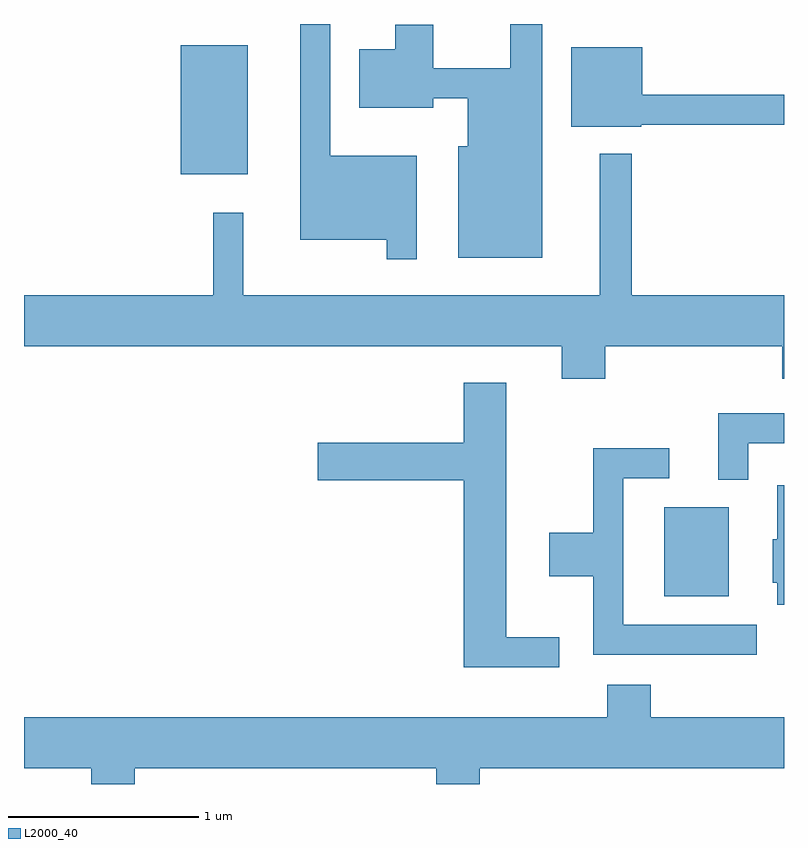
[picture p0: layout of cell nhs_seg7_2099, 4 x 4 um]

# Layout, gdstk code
import gdstk
lib = gdstk.Library(unit=1e-6, precision=1e-09)
def R(c, l, rs):  # rectangles x0, y0, x1, y1
    for r in rs: c.add(gdstk.rectangle(r[:2], r[2:], *l))
def P(c, l, *ps):  # polygons
    for p in ps: c.add(gdstk.Polygon(p, *l))
L2000_40 = (2000, 40)

nhs_seg7_2099 = lib.new_cell('nhs_seg7_2099')
R(nhs_seg7_2099, L2000_40, [(252.981,1695.241,253.319,1695.709), (250.436,1697.461,250.789,1698.139)])
P(nhs_seg7_2099, L2000_40, [(251.679,1697.559),(251.224,1697.559),(251.224,1698.252),(251.066,1698.252),(251.066,1697.116),(251.521,1697.116),(251.521,1697.013),(251.679,1697.013)],
  [(252.339,1698.252),(252.171,1698.252),(252.171,1698.019),(251.764,1698.019),(251.764,1698.249),(251.566,1698.249),(251.566,1698.119),(251.376,1698.119),(251.376,1697.811),(251.764,1697.811),(251.764,1697.861),(251.946,1697.861),(251.946,1697.609),(251.896,1697.609),(251.896,1697.021),(252.339,1697.021)],
  [(252.86,1697.721),(253.611,1697.721),(253.611,1697.879),(252.864,1697.879),(252.864,1698.129),(252.491,1698.129),(252.491,1697.711),(252.86,1697.711)],
  [(252.669,1696.556),(253.601,1696.556),(253.601,1696.386),(253.611,1696.386),(253.611,1696.824),(252.809,1696.824),(252.809,1697.568),(252.641,1697.568),(252.641,1696.824),(250.764,1696.824),(250.764,1697.258),(250.606,1697.258),(250.606,1696.824),(249.611,1696.824),(249.611,1696.556),(252.441,1696.556),(252.441,1696.386),(252.669,1696.386)],
  [(252.428,1695.024),(252.149,1695.024),(252.149,1696.364),(251.926,1696.364),(251.926,1696.049),(251.156,1696.049),(251.156,1695.851),(251.926,1695.851),(251.926,1694.866),(252.428,1694.866)],
  [(253.424,1696.046),(253.611,1696.046),(253.611,1696.204),(253.266,1696.204),(253.266,1695.853),(253.424,1695.853)],
  [(253.468,1695.089),(252.764,1695.089),(252.764,1695.861),(253.008,1695.861),(253.008,1696.019),(252.606,1696.019),(252.606,1695.574),(252.376,1695.574),(252.376,1695.346),(252.606,1695.346),(252.606,1694.931),(253.468,1694.931)],
  [(253.611,1695.824),(253.576,1695.824),(253.576,1695.539),(253.551,1695.539),(253.551,1695.311),(253.576,1695.311),(253.576,1695.196),(253.611,1695.196)],
  [(249.611,1694.336),(249.966,1694.336),(249.966,1694.252),(250.194,1694.252),(250.194,1694.336),(251.781,1694.336),(251.781,1694.252),(252.009,1694.252),(252.009,1694.336),(253.611,1694.336),(253.611,1694.604),(252.909,1694.604),(252.909,1694.774),(252.681,1694.774),(252.681,1694.604),(249.611,1694.604)])

lib.write_gds('nhs_seg7_2099.gds')
